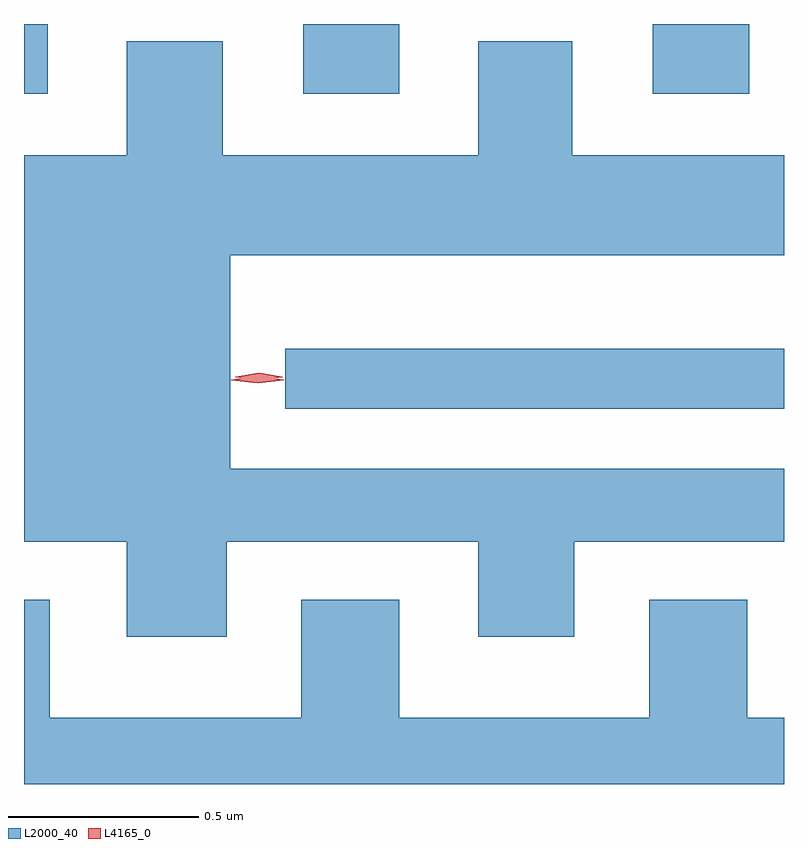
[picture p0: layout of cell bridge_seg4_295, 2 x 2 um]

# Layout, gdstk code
import gdstk
lib = gdstk.Library(unit=1e-6, precision=1e-09)
def R(c, l, rs):  # rectangles x0, y0, x1, y1
    for r in rs: c.add(gdstk.rectangle(r[:2], r[2:], *l))
def P(c, l, *ps):  # polygons
    for p in ps: c.add(gdstk.Polygon(p, *l))
L2000_40 = (2000, 40)
L4165_0 = (4165, 0)

bridge_seg4_295 = lib.new_cell('bridge_seg4_295')
R(bridge_seg4_295, L2000_40, [(550.263,1264.736,551.576,1264.894), (549.576,1265.566,549.639,1265.749), (550.311,1265.566,550.564,1265.749), (551.231,1265.566,551.484,1265.749)])
P(bridge_seg4_295, L2000_40, [(550.109,1264.386),(550.771,1264.386),(550.771,1264.136),(551.024,1264.136),(551.024,1264.386),(551.576,1264.386),(551.576,1264.579),(550.119,1264.579),(550.119,1265.141),(551.576,1265.141),(551.576,1265.404),(551.019,1265.404),(551.019,1265.704),(550.771,1265.704),(550.771,1265.404),(550.099,1265.404),(550.099,1265.704),(549.846,1265.704),(549.846,1265.404),(549.576,1265.404),(549.576,1264.386),(549.846,1264.386),(549.846,1264.136),(550.109,1264.136)],
  [(551.576,1263.924),(551.479,1263.924),(551.479,1264.234),(551.221,1264.234),(551.221,1263.924),(550.564,1263.924),(550.564,1264.234),(550.306,1264.234),(550.306,1263.924),(549.644,1263.924),(549.644,1264.234),(549.576,1264.234),(549.576,1263.749),(551.576,1263.749)])
P(bridge_seg4_295, L4165_0, [(550.195,1264.811),(550.133,1264.82),(550.132,1264.821),(550.133,1264.821),(550.195,1264.831),(550.256,1264.821),(550.257,1264.821),(550.256,1264.82)],
  [(550.191,1264.803),(550.122,1264.812),(550.122,1264.813),(550.122,1264.813),(550.191,1264.823),(550.26,1264.813),(550.26,1264.813),(550.26,1264.812)])

lib.write_gds('bridge_seg4_295.gds')
